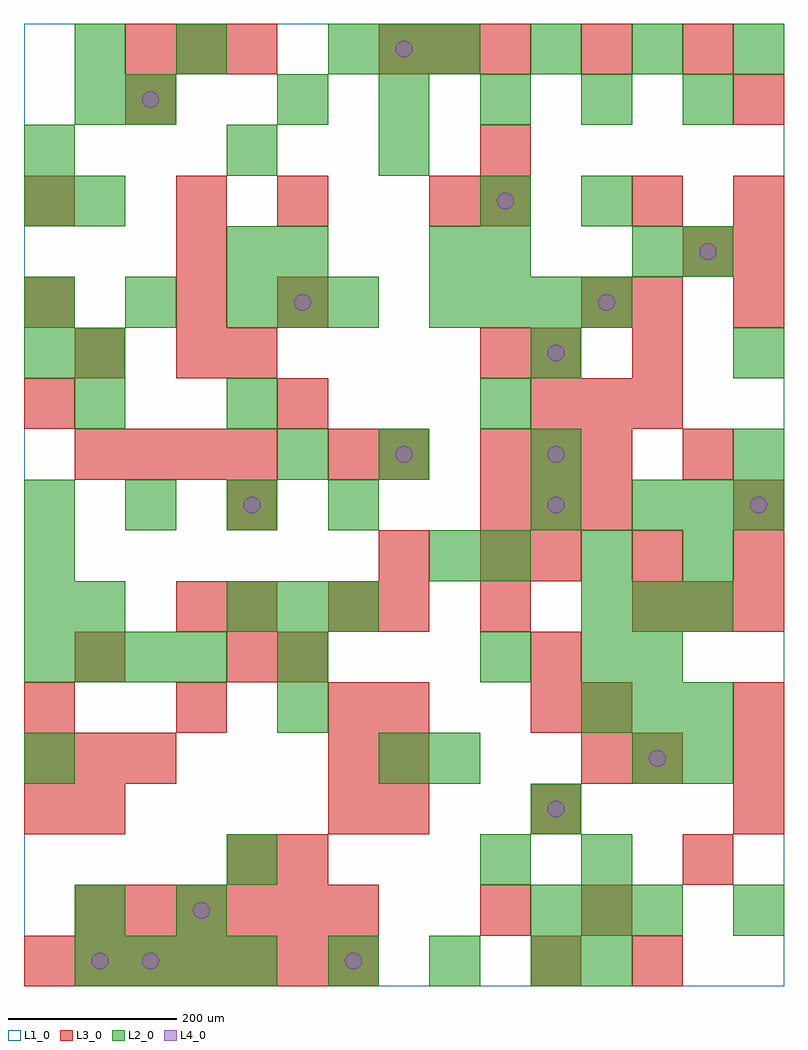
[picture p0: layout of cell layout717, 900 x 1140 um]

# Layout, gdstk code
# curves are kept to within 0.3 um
import gdstk
lib = gdstk.Library(unit=1e-6, precision=1e-09)
def R(c, l, rs):  # rectangles x0, y0, x1, y1
    for r in rs: c.add(gdstk.rectangle(r[:2], r[2:], *l))
def A(c, l, x, y, w, h, nx, ny, dx, dy):  # array of equal rectangles
    R(c, l, [(x+i*dx, y+j*dy, x+i*dx+w, y+j*dy+h) for i in range(nx) for j in range(ny)])
def P(c, l, *ps):  # polygons
    for p in ps: c.add(gdstk.Polygon(p, *l))
L1_0 = (1, 0)
L2_0 = (2, 0)
L3_0 = (3, 0)
L4_0 = (4, 0)

layout717 = lib.new_cell('layout717')
R(layout717, L1_0, [(0,0,900,1140)])
A(layout717, L2_0, 60, 0, 60, 60, 4, 1, 60, 0)
A(layout717, L2_0, 360, 0, 60, 60, 3, 1, 120, 0)
A(layout717, L2_0, 600, 60, 60, 60, 3, 1, 60, 0)
A(layout717, L2_0, 420, 240, 60, 60, 1, 3, 0, 360)
A(layout717, L2_0, 660, 300, 60, 60, 3, 2, 60, 120)
A(layout717, L2_0, 0, 360, 60, 60, 4, 1, 60, 0)
A(layout717, L2_0, 240, 420, 60, 60, 3, 1, 60, 0)
A(layout717, L2_0, 540, 480, 60, 60, 3, 1, 120, 0)
A(layout717, L2_0, 0, 540, 60, 60, 4, 1, 120, 0)
A(layout717, L2_0, 720, 540, 60, 60, 3, 1, 60, 0)
A(layout717, L2_0, 0, 780, 60, 60, 3, 1, 120, 0)
A(layout717, L2_0, 480, 780, 60, 60, 4, 1, 60, 0)
A(layout717, L2_0, 300, 1020, 60, 60, 5, 1, 120, 0)
A(layout717, L2_0, 360, 1080, 60, 60, 3, 1, 60, 0)
A(layout717, L2_0, 600, 1080, 60, 60, 3, 1, 120, 0)
R(layout717, L2_0, [(660,0,720,60), (60,60,120,120), (180,60,240,120), (840,60,900,120), (240,120,300,180), (540,120,600,180), (660,120,720,180), (600,180,660,240), (0,240,60,300), (480,240,540,300), (720,240,780,300), (780,240,840,300), (300,300,360,360), (300,360,360,420), (540,360,600,420), (660,360,720,420), (720,360,780,420), (0,420,60,480), (60,420,120,480), (0,480,60,540), (480,480,540,540), (600,540,660,600), (300,600,360,660), (600,600,660,660), (840,600,900,660), (60,660,120,720), (240,660,300,720), (540,660,600,720), (0,720,60,780), (60,720,120,780), (600,720,660,780), (840,720,900,780), (300,780,360,840), (360,780,420,840), (240,840,300,900), (300,840,360,900), (480,840,540,900), (540,840,600,900), (720,840,780,900), (780,840,840,900), (0,900,60,960), (60,900,120,960), (540,900,600,960), (660,900,720,960), (0,960,60,1020), (240,960,300,1020), (60,1020,120,1080), (120,1020,180,1080), (60,1080,120,1140), (180,1080,240,1140)])
A(layout717, L3_0, 0, 0, 60, 60, 7, 1, 60, 0)
A(layout717, L3_0, 60, 60, 60, 60, 6, 1, 60, 0)
A(layout717, L3_0, 420, 180, 60, 60, 1, 3, 0, 60)
A(layout717, L3_0, 840, 180, 60, 60, 1, 3, 0, 60)
A(layout717, L3_0, 0, 240, 60, 60, 3, 1, 60, 0)
A(layout717, L3_0, 360, 240, 60, 60, 1, 3, 0, 180)
A(layout717, L3_0, 0, 300, 60, 60, 3, 1, 180, 0)
A(layout717, L3_0, 720, 420, 60, 60, 3, 1, 60, 0)
A(layout717, L3_0, 600, 480, 60, 60, 3, 1, 120, 0)
A(layout717, L3_0, 540, 540, 60, 60, 3, 2, 60, 60)
A(layout717, L3_0, 60, 600, 60, 60, 4, 1, 60, 0)
A(layout717, L3_0, 780, 600, 60, 60, 1, 3, 0, 240)
A(layout717, L3_0, 0, 660, 60, 60, 3, 1, 300, 0)
A(layout717, L3_0, 720, 660, 60, 60, 1, 3, 0, 60)
A(layout717, L3_0, 180, 720, 60, 60, 1, 4, 0, 60)
A(layout717, L3_0, 840, 780, 60, 60, 1, 3, 0, 60)
A(layout717, L3_0, 120, 1080, 60, 60, 3, 1, 60, 0)
A(layout717, L3_0, 420, 1080, 60, 60, 3, 1, 60, 0)
R(layout717, L3_0, [(600,0,660,60), (720,0,780,60), (540,60,600,120), (660,60,720,120), (240,120,300,180), (300,120,360,180), (780,120,840,180), (0,180,60,240), (60,180,120,240), (360,180,420,240), (600,180,660,240), (660,240,720,300), (720,240,780,300), (600,300,660,360), (660,300,720,360), (60,360,120,420), (240,360,300,420), (300,360,360,420), (600,360,660,420), (180,420,240,480), (240,420,300,480), (420,420,480,480), (540,420,600,480), (420,480,480,540), (540,480,600,540), (240,540,300,600), (840,540,900,600), (420,600,480,660), (660,660,720,720), (60,720,120,780), (240,720,300,780), (540,720,600,780), (600,720,660,780), (0,780,60,840), (300,780,360,840), (660,780,720,840), (0,900,60,960), (300,900,360,960), (480,900,540,960), (540,900,600,960), (720,900,780,960), (540,960,600,1020), (120,1020,180,1080), (840,1020,900,1080), (660,1080,720,1140)])
P(layout717, L4_0, [(100,30),(99.239,33.827),(97.071,37.071),(93.827,39.239),(90,40),(86.173,39.239),(82.929,37.071),(80.761,33.827),(80,30),(80.761,26.173),(82.929,22.929),(86.173,20.761),(90,20),(93.827,20.761),(97.071,22.929),(99.239,26.173)],
  [(160,30),(159.239,33.827),(157.071,37.071),(153.827,39.239),(150,40),(146.173,39.239),(142.929,37.071),(140.761,33.827),(140,30),(140.761,26.173),(142.929,22.929),(146.173,20.761),(150,20),(153.827,20.761),(157.071,22.929),(159.239,26.173)],
  [(160,1050),(159.239,1053.827),(157.071,1057.071),(153.827,1059.239),(150,1060),(146.173,1059.239),(142.929,1057.071),(140.761,1053.827),(140,1050),(140.761,1046.173),(142.929,1042.929),(146.173,1040.761),(150,1040),(153.827,1040.761),(157.071,1042.929),(159.239,1046.173)],
  [(220,90),(219.239,93.827),(217.071,97.071),(213.827,99.239),(210,100),(206.173,99.239),(202.929,97.071),(200.761,93.827),(200,90),(200.761,86.173),(202.929,82.929),(206.173,80.761),(210,80),(213.827,80.761),(217.071,82.929),(219.239,86.173)],
  [(280,570),(279.239,573.827),(277.071,577.071),(273.827,579.239),(270,580),(266.173,579.239),(262.929,577.071),(260.761,573.827),(260,570),(260.761,566.173),(262.929,562.929),(266.173,560.761),(270,560),(273.827,560.761),(277.071,562.929),(279.239,566.173)],
  [(340,810),(339.239,813.827),(337.071,817.071),(333.827,819.239),(330,820),(326.173,819.239),(322.929,817.071),(320.761,813.827),(320,810),(320.761,806.173),(322.929,802.929),(326.173,800.761),(330,800),(333.827,800.761),(337.071,802.929),(339.239,806.173)],
  [(400,30),(399.239,33.827),(397.071,37.071),(393.827,39.239),(390,40),(386.173,39.239),(382.929,37.071),(380.761,33.827),(380,30),(380.761,26.173),(382.929,22.929),(386.173,20.761),(390,20),(393.827,20.761),(397.071,22.929),(399.239,26.173)],
  [(460,630),(459.239,633.827),(457.071,637.071),(453.827,639.239),(450,640),(446.173,639.239),(442.929,637.071),(440.761,633.827),(440,630),(440.761,626.173),(442.929,622.929),(446.173,620.761),(450,620),(453.827,620.761),(457.071,622.929),(459.239,626.173)],
  [(460,1110),(459.239,1113.827),(457.071,1117.071),(453.827,1119.239),(450,1120),(446.173,1119.239),(442.929,1117.071),(440.761,1113.827),(440,1110),(440.761,1106.173),(442.929,1102.929),(446.173,1100.761),(450,1100),(453.827,1100.761),(457.071,1102.929),(459.239,1106.173)],
  [(580,930),(579.239,933.827),(577.071,937.071),(573.827,939.239),(570,940),(566.173,939.239),(562.929,937.071),(560.761,933.827),(560,930),(560.761,926.173),(562.929,922.929),(566.173,920.761),(570,920),(573.827,920.761),(577.071,922.929),(579.239,926.173)],
  [(640,210),(639.239,213.827),(637.071,217.071),(633.827,219.239),(630,220),(626.173,219.239),(622.929,217.071),(620.761,213.827),(620,210),(620.761,206.173),(622.929,202.929),(626.173,200.761),(630,200),(633.827,200.761),(637.071,202.929),(639.239,206.173)],
  [(640,570),(639.239,573.827),(637.071,577.071),(633.827,579.239),(630,580),(626.173,579.239),(622.929,577.071),(620.761,573.827),(620,570),(620.761,566.173),(622.929,562.929),(626.173,560.761),(630,560),(633.827,560.761),(637.071,562.929),(639.239,566.173)],
  [(640,630),(639.239,633.827),(637.071,637.071),(633.827,639.239),(630,640),(626.173,639.239),(622.929,637.071),(620.761,633.827),(620,630),(620.761,626.173),(622.929,622.929),(626.173,620.761),(630,620),(633.827,620.761),(637.071,622.929),(639.239,626.173)],
  [(640,750),(639.239,753.827),(637.071,757.071),(633.827,759.239),(630,760),(626.173,759.239),(622.929,757.071),(620.761,753.827),(620,750),(620.761,746.173),(622.929,742.929),(626.173,740.761),(630,740),(633.827,740.761),(637.071,742.929),(639.239,746.173)],
  [(700,810),(699.239,813.827),(697.071,817.071),(693.827,819.239),(690,820),(686.173,819.239),(682.929,817.071),(680.761,813.827),(680,810),(680.761,806.173),(682.929,802.929),(686.173,800.761),(690,800),(693.827,800.761),(697.071,802.929),(699.239,806.173)],
  [(760,270),(759.239,273.827),(757.071,277.071),(753.827,279.239),(750,280),(746.173,279.239),(742.929,277.071),(740.761,273.827),(740,270),(740.761,266.173),(742.929,262.929),(746.173,260.761),(750,260),(753.827,260.761),(757.071,262.929),(759.239,266.173)],
  [(820,870),(819.239,873.827),(817.071,877.071),(813.827,879.239),(810,880),(806.173,879.239),(802.929,877.071),(800.761,873.827),(800,870),(800.761,866.173),(802.929,862.929),(806.173,860.761),(810,860),(813.827,860.761),(817.071,862.929),(819.239,866.173)],
  [(880,570),(879.239,573.827),(877.071,577.071),(873.827,579.239),(870,580),(866.173,579.239),(862.929,577.071),(860.761,573.827),(860,570),(860.761,566.173),(862.929,562.929),(866.173,560.761),(870,560),(873.827,560.761),(877.071,562.929),(879.239,566.173)])

lib.write_gds('layout717.gds')
